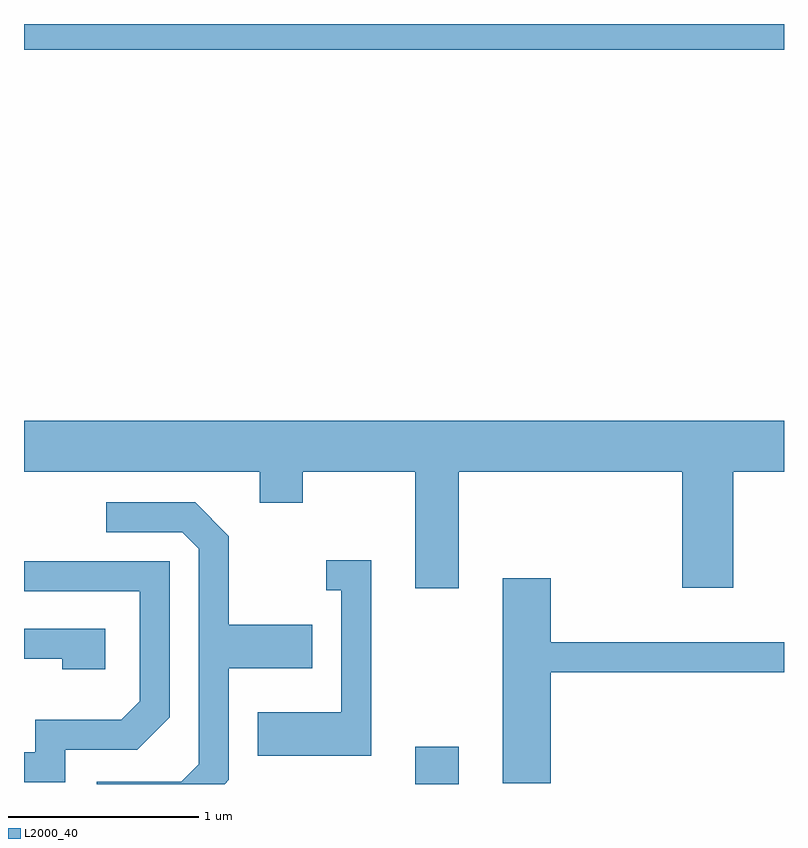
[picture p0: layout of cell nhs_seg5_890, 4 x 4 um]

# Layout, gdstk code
import gdstk
lib = gdstk.Library(unit=1e-6, precision=1e-09)
def R(c, l, rs):  # rectangles x0, y0, x1, y1
    for r in rs: c.add(gdstk.rectangle(r[:2], r[2:], *l))
def P(c, l, *ps):  # polygons
    for p in ps: c.add(gdstk.Polygon(p, *l))
L2000_40 = (2000, 40)

nhs_seg5_890 = lib.new_cell('nhs_seg5_890')
R(nhs_seg5_890, L2000_40, [(213.671,1424.072,213.899,1424.269), (211.611,1427.936,215.611,1428.072)])
P(nhs_seg5_890, L2000_40, [(213.899,1425.716),(215.076,1425.716),(215.076,1425.106),(215.344,1425.106),(215.344,1425.716),(215.611,1425.716),(215.611,1425.984),(211.611,1425.984),(211.611,1425.716),(212.851,1425.716),(212.851,1425.551),(213.079,1425.551),(213.079,1425.716),(213.671,1425.716),(213.671,1425.101),(213.899,1425.101)],
  [(212.689,1424.094),(212.689,1424.681),(213.129,1424.681),(213.129,1424.909),(212.689,1424.909),(212.689,1425.377),(212.512,1425.554),(212.043,1425.554),(212.043,1425.396),(212.444,1425.396),(212.531,1425.309),(212.531,1424.177),(212.439,1424.084),(211.993,1424.084),(211.993,1424.072),(212.667,1424.072)],
  [(213.439,1425.249),(213.203,1425.249),(213.203,1425.091),(213.281,1425.091),(213.281,1424.449),(212.841,1424.449),(212.841,1424.221),(213.439,1424.221)],
  [(211.829,1424.251),(212.207,1424.251),(212.379,1424.424),(212.379,1425.244),(211.611,1425.244),(211.611,1425.086),(212.221,1425.086),(212.221,1424.507),(212.124,1424.409),(211.671,1424.409),(211.671,1424.239),(211.611,1424.239),(211.611,1424.081),(211.829,1424.081)],
  [(214.384,1424.661),(215.611,1424.661),(215.611,1424.819),(214.384,1424.819),(214.384,1425.154),(214.131,1425.154),(214.131,1424.076),(214.384,1424.076)],
  [(212.039,1424.889),(211.611,1424.889),(211.611,1424.731),(211.811,1424.731),(211.811,1424.676),(212.039,1424.676)])

lib.write_gds('nhs_seg5_890.gds')
